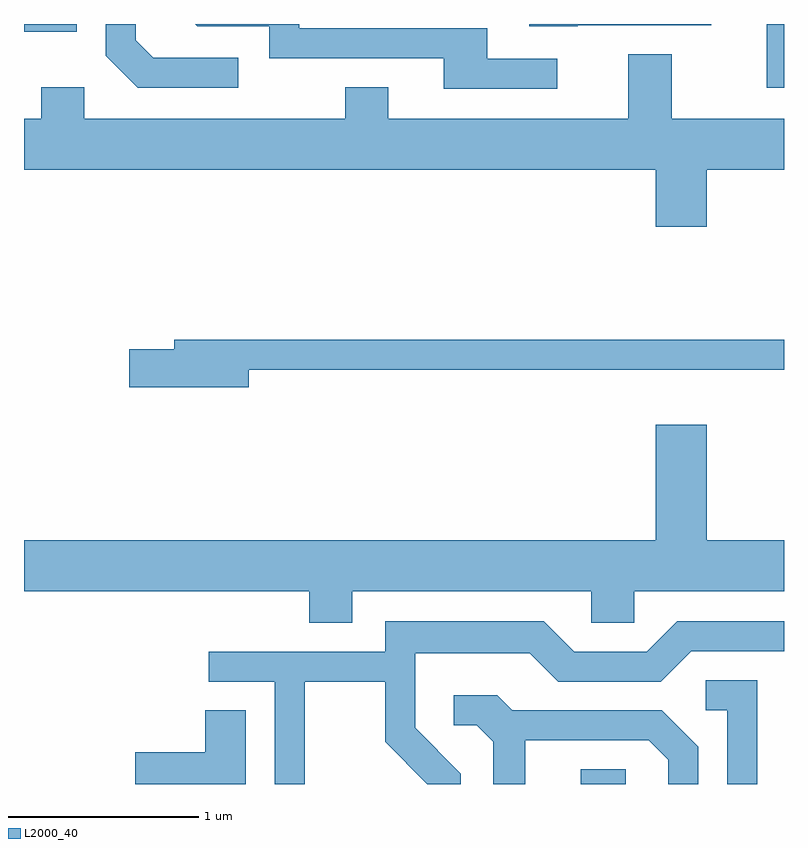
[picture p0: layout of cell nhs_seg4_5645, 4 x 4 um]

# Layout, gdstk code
import gdstk
lib = gdstk.Library(unit=1e-6, precision=1e-09)
def R(c, l, rs):  # rectangles x0, y0, x1, y1
    for r in rs: c.add(gdstk.rectangle(r[:2], r[2:], *l))
def P(c, l, *ps):  # polygons
    for p in ps: c.add(gdstk.Polygon(p, *l))
L2000_40 = (2000, 40)

nhs_seg4_5645 = lib.new_cell('nhs_seg4_5645')
R(nhs_seg4_5645, L2000_40, [(354.541,1255.982,354.779,1256.059), (355.521,1259.646,355.611,1259.982), (351.611,1259.941,351.889,1259.982)])
P(nhs_seg4_5645, L2000_40, [(352.738,1259.804),(352.292,1259.804),(352.199,1259.897),(352.199,1259.982),(352.041,1259.982),(352.041,1259.814),(352.209,1259.646),(352.738,1259.646)],
  [(354.525,1259.976),(355.229,1259.976),(355.229,1259.982),(354.271,1259.982),(354.271,1259.971),(354.525,1259.971)],
  [(354.418,1259.799),(354.049,1259.799),(354.049,1259.959),(353.059,1259.959),(353.059,1259.982),(352.513,1259.982),(352.524,1259.971),(352.901,1259.971),(352.901,1259.801),(353.821,1259.801),(353.821,1259.641),(354.418,1259.641)],
  [(355.204,1259.216),(355.611,1259.216),(355.611,1259.484),(355.019,1259.484),(355.019,1259.824),(354.791,1259.824),(354.791,1259.484),(353.529,1259.484),(353.529,1259.649),(353.301,1259.649),(353.301,1259.484),(351.929,1259.484),(351.929,1259.649),(351.701,1259.649),(351.701,1259.484),(351.611,1259.484),(351.611,1259.216),(354.936,1259.216),(354.936,1258.916),(355.204,1258.916)],
  [(352.794,1258.161),(355.611,1258.161),(355.611,1258.319),(352.401,1258.319),(352.401,1258.269),(352.166,1258.269),(352.166,1258.071),(352.794,1258.071)],
  [(353.339,1256.996),(354.596,1256.996),(354.596,1256.831),(354.824,1256.831),(354.824,1256.996),(355.611,1256.996),(355.611,1257.264),(355.204,1257.264),(355.204,1257.874),(354.936,1257.874),(354.936,1257.264),(351.611,1257.264),(351.611,1256.996),(353.111,1256.996),(353.111,1256.831),(353.339,1256.831)],
  [(353.089,1256.521),(353.511,1256.521),(353.511,1256.204),(353.733,1255.982),(353.909,1255.982),(353.909,1256.037),(353.669,1256.277),(353.669,1256.671),(354.274,1256.671),(354.424,1256.521),(354.962,1256.521),(355.122,1256.681),(355.611,1256.681),(355.611,1256.839),(355.049,1256.839),(354.889,1256.679),(354.507,1256.679),(354.347,1256.839),(353.511,1256.839),(353.511,1256.679),(352.583,1256.679),(352.583,1256.521),(352.931,1256.521),(352.931,1255.982),(353.089,1255.982)],
  [(355.469,1256.529),(355.198,1256.529),(355.198,1256.371),(355.311,1256.371),(355.311,1255.982),(355.469,1255.982)],
  [(354.249,1256.211),(354.899,1256.211),(355.001,1256.109),(355.001,1255.982),(355.159,1255.982),(355.159,1256.177),(354.967,1256.369),(354.182,1256.369),(354.102,1256.449),(353.873,1256.449),(353.873,1256.291),(353.994,1256.291),(354.081,1256.204),(354.081,1255.982),(354.249,1255.982)],
  [(352.779,1256.369),(352.566,1256.369),(352.566,1256.149),(352.196,1256.149),(352.196,1255.982),(352.779,1255.982)])

lib.write_gds('nhs_seg4_5645.gds')
